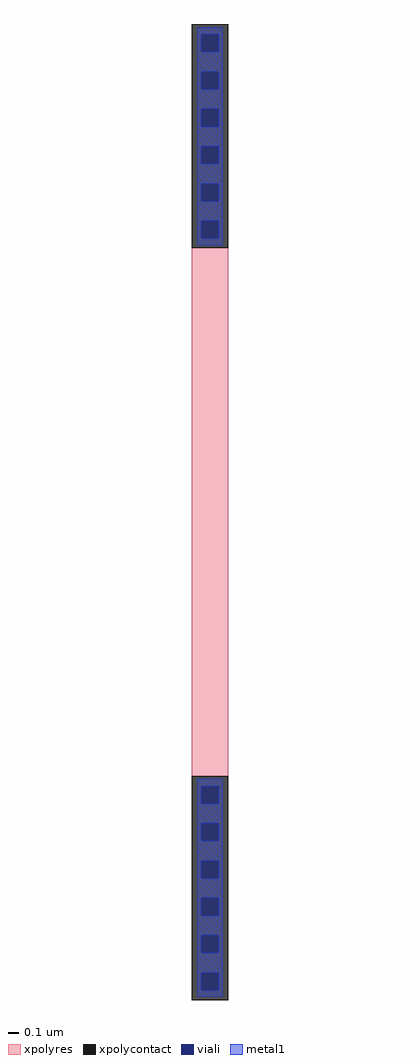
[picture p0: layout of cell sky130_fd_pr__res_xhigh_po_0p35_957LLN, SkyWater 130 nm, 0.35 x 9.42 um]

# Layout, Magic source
magic
tech sky130A
magscale 1 2
<< xpolycontact >>
rect -35 510 35 942
rect -35 -942 35 -510
<< xpolyres >>
rect -35 -510 35 510
<< viali >>
rect -17 888 17 922
rect -17 816 17 850
rect -17 744 17 778
rect -17 672 17 706
rect -17 600 17 634
rect -17 528 17 562
rect -17 -563 17 -529
rect -17 -635 17 -601
rect -17 -707 17 -673
rect -17 -779 17 -745
rect -17 -851 17 -817
rect -17 -923 17 -889
<< metal1 >>
rect -25 922 25 936
rect -25 888 -17 922
rect 17 888 25 922
rect -25 850 25 888
rect -25 816 -17 850
rect 17 816 25 850
rect -25 778 25 816
rect -25 744 -17 778
rect 17 744 25 778
rect -25 706 25 744
rect -25 672 -17 706
rect 17 672 25 706
rect -25 634 25 672
rect -25 600 -17 634
rect 17 600 25 634
rect -25 562 25 600
rect -25 528 -17 562
rect 17 528 25 562
rect -25 515 25 528
rect -25 -529 25 -515
rect -25 -563 -17 -529
rect 17 -563 25 -529
rect -25 -601 25 -563
rect -25 -635 -17 -601
rect 17 -635 25 -601
rect -25 -673 25 -635
rect -25 -707 -17 -673
rect 17 -707 25 -673
rect -25 -745 25 -707
rect -25 -779 -17 -745
rect 17 -779 25 -745
rect -25 -817 25 -779
rect -25 -851 -17 -817
rect 17 -851 25 -817
rect -25 -889 25 -851
rect -25 -923 -17 -889
rect 17 -923 25 -889
rect -25 -936 25 -923
<< end >>
